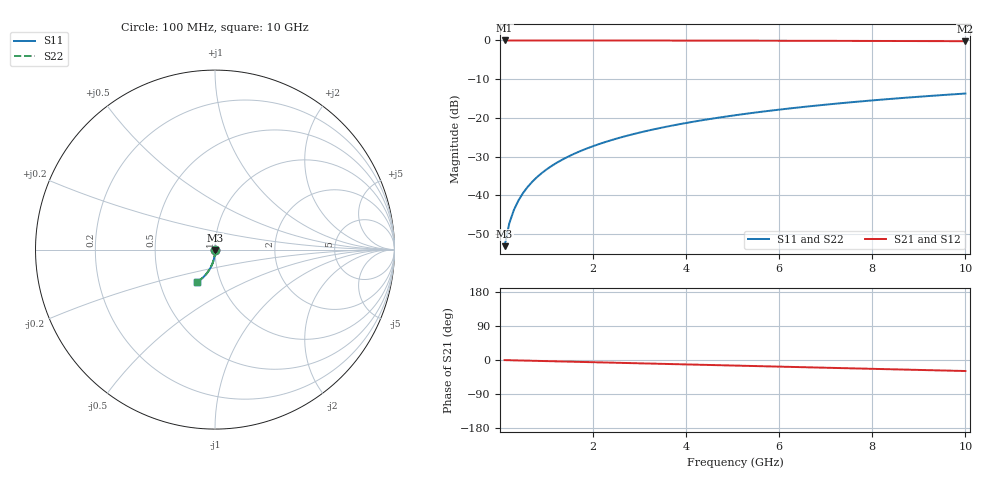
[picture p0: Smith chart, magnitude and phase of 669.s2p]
# Hz S RI R 50.00
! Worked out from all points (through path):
!   100 points, 100 MHz to 10 GHz, reference 50 ohm
!   highest |S21| = 0.00 dB at 100 MHz (marker M1); lowest = -0.2 dB at 10 GHz (marker M2)
!   group delay of S21, straight-line fit = 8.08 ps
!   lowest |S11| = -53.1 dB at 100 MHz (marker M3), VSWR 1.00, Z = 50 - j0.216 ohm
!   |S11| at or under -10 dB: start of sweep to end of sweep
!   |S22| runs from -53.1 to -13.7 dB; largest |S21 - S12| = 0
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1e8  0.000442 -0.00216  0.9995 -0.00507  0.9995 -0.00507  0.000442 -0.00216
2e8  0.000409 -0.00431  0.9995 -0.0101  0.9995 -0.0101  0.000409 -0.00431
3e8  0.000353 -0.00647  0.9994 -0.0152  0.9994 -0.0152  0.000353 -0.00647
4e8  0.000275 -0.00862  0.9993 -0.0203  0.9993 -0.0203  0.000275 -0.00862
5e8  0.000175 -0.0108  0.9991 -0.0254  0.9991 -0.0254  0.000175 -0.0108
6e8  5.21e-05 -0.0129  0.999 -0.0304  0.999 -0.0304  5.21e-05 -0.0129
7e8  -9.23e-05 -0.0151  0.9988 -0.0355  0.9988 -0.0355  -9.23e-05 -0.0151
8e8  -0.000259 -0.0172  0.9985 -0.0406  0.9985 -0.0406  -0.000259 -0.0172
9e8  -0.000447 -0.0194  0.9983 -0.0457  0.9983 -0.0457  -0.000447 -0.0194
1.1e9  -0.00089 -0.0237  0.9976 -0.0558  0.9976 -0.0558  -0.00089 -0.0237
1.4e9  -0.00172 -0.0301  0.9965 -0.071  0.9965 -0.071  -0.00172 -0.0301
1.8e9  -0.00313 -0.0387  0.9945 -0.0912  0.9945 -0.0912  -0.00313 -0.0387
2.1e9  -0.00441 -0.045  0.9927 -0.1064  0.9927 -0.1064  -0.00441 -0.045
2.5e9  -0.00643 -0.0534  0.9899 -0.1265  0.9899 -0.1265  -0.00643 -0.0534
2.9e9  -0.00878 -0.0618  0.9866 -0.1465  0.9866 -0.1465  -0.00878 -0.0618
3.4e9  -0.0122 -0.0721  0.9818 -0.1715  0.9818 -0.1715  -0.0122 -0.0721
4.2e9  -0.0188 -0.0881  0.9727 -0.211  0.9727 -0.211  -0.0188 -0.0881
5.1e9  -0.0277 -0.1055  0.9601 -0.2549  0.9601 -0.2549  -0.0277 -0.1055
5.9e9  -0.0369 -0.1201  0.947 -0.2931  0.947 -0.2931  -0.0369 -0.1201
6.7e9  -0.0472 -0.134  0.9322 -0.3306  0.9322 -0.3306  -0.0472 -0.134
8.4e9  -0.0726 -0.1602  0.8953 -0.4072  0.8953 -0.4072  -0.0726 -0.1602
1e10  -0.1 -0.1803  0.8545 -0.475  0.8545 -0.475  -0.1 -0.1803
